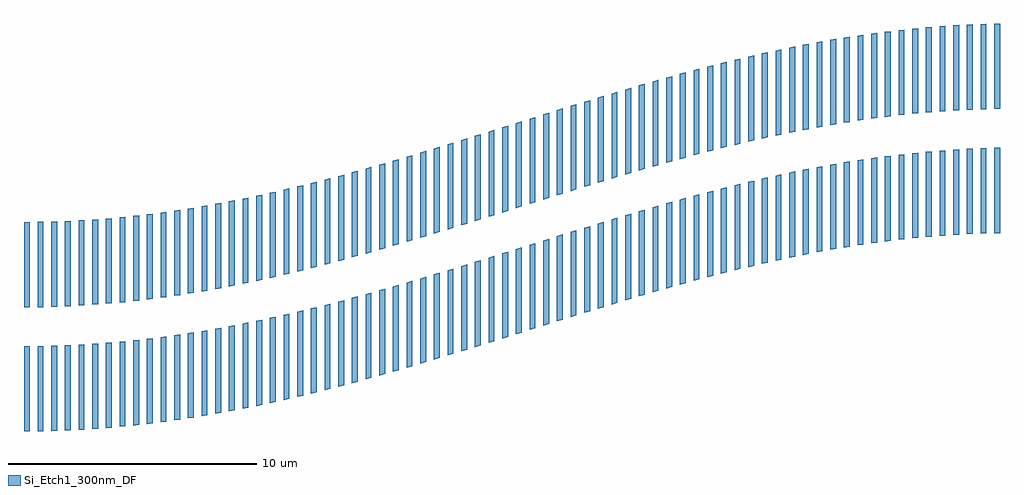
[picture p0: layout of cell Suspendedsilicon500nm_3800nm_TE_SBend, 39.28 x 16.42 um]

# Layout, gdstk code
import gdstk
lib = gdstk.Library(unit=1e-6, precision=1e-09)
def R(c, l, rs):  # rectangles x0, y0, x1, y1
    for r in rs: c.add(gdstk.rectangle(r[:2], r[2:], *l))
def P(c, l, *ps):  # polygons
    for p in ps: c.add(gdstk.Polygon(p, *l))
Si_Etch1_300nm_DF = (404, 0)

suspendedsilicon500nm_38 = lib.new_cell('Suspendedsilicon500nm_3800nm_TE_SBend')
R(suspendedsilicon500nm_38, Si_Etch1_300nm_DF, [(0,4.999,0.23,8.429)])
P(suspendedsilicon500nm_38, Si_Etch1_300nm_DF, [(22.55,4.77),(22.55,8.198),(22.78,8.268),(22.78,4.84)],
  [(0.55,5.003),(0.55,8.433),(0.78,8.436),(0.78,5.006)],
  [(23.1,4.939),(23.1,8.367),(23.33,8.436),(23.33,5.008)],
  [(1.1,5.015),(1.1,8.445),(1.33,8.452),(1.33,5.022)],
  [(1.65,5.034),(1.65,8.464),(1.88,8.474),(1.88,5.044)],
  [(2.2,5.061),(2.2,8.491),(2.43,8.504),(2.43,5.074)],
  [(2.75,5.096),(2.75,8.525),(2.98,8.542),(2.98,5.113)],
  [(3.3,5.138),(3.3,8.568),(3.53,8.587),(3.53,5.157)],
  [(23.65,5.106),(23.65,8.534),(23.88,8.604),(23.88,5.176)],
  [(3.85,5.187),(3.85,8.616),(4.08,8.639),(4.08,5.21)],
  [(4.4,5.244),(4.4,8.673),(4.63,8.699),(4.63,5.27)],
  [(4.95,5.308),(4.95,8.737),(5.18,8.765),(5.18,5.336)],
  [(24.2,5.272),(24.2,8.698),(24.43,8.766),(24.43,5.34)],
  [(5.5,5.378),(5.5,8.807),(5.73,8.839),(5.73,5.41)],
  [(6.05,5.455),(6.05,8.884),(6.28,8.919),(6.28,5.49)],
  [(24.75,5.434),(24.75,8.86),(24.98,8.929),(24.98,5.503)],
  [(6.6,5.54),(6.6,8.968),(6.83,9.005),(6.83,5.577)],
  [(25.3,5.596),(25.3,9.022),(25.53,9.088),(25.53,5.662)],
  [(7.15,5.631),(7.15,9.059),(7.38,9.098),(7.38,5.67)],
  [(7.7,5.728),(7.7,9.157),(7.93,9.199),(7.93,5.77)],
  [(25.85,5.751),(25.85,9.178),(26.08,9.243),(26.08,5.816)],
  [(8.25,5.83),(8.25,9.26),(8.48,9.306),(8.48,5.876)],
  [(26.4,5.906),(26.4,9.333),(26.63,9.398),(26.63,5.971)],
  [(8.8,5.94),(8.8,9.369),(9.03,9.415),(9.03,5.986)],
  [(9.35,6.055),(9.35,9.484),(9.58,9.534),(9.58,6.105)],
  [(26.95,6.058),(26.95,9.485),(27.18,9.545),(27.18,6.118)],
  [(9.9,6.175),(9.9,9.603),(10.13,9.656),(10.13,6.228)],
  [(27.5,6.203),(27.5,9.63),(27.73,9.69),(27.73,6.263)],
  [(10.45,6.302),(10.45,9.73),(10.68,9.783),(10.68,6.355)],
  [(28.05,6.346),(28.05,9.774),(28.28,9.833),(28.28,6.405)],
  [(11,6.433),(11,9.861),(11.23,9.917),(11.23,6.489)],
  [(28.6,6.483),(28.6,9.911),(28.83,9.967),(28.83,6.539)],
  [(11.55,6.568),(11.55,9.996),(11.78,10.053),(11.78,6.625)],
  [(29.15,6.616),(29.15,10.044),(29.38,10.1),(29.38,6.672)],
  [(12.1,6.708),(12.1,10.136),(12.33,10.196),(12.33,6.768)],
  [(29.7,6.748),(29.7,10.176),(29.93,10.227),(29.93,6.799)],
  [(12.65,6.852),(12.65,10.279),(12.88,10.341),(12.88,6.914)],
  [(30.25,6.867),(30.25,10.296),(30.48,10.346),(30.48,6.917)],
  [(30.8,6.986),(30.8,10.415),(31.03,10.464),(31.03,7.035)],
  [(13.2,7.002),(13.2,10.429),(13.43,10.492),(13.43,7.065)],
  [(31.35,7.101),(31.35,10.53),(31.58,10.573),(31.58,7.144)],
  [(13.75,7.154),(13.75,10.58),(13.98,10.645),(13.98,7.219)],
  [(31.9,7.204),(31.9,10.633),(32.13,10.675),(32.13,7.246)],
  [(32.45,7.306),(32.45,10.735),(32.68,10.777),(32.68,7.348)],
  [(14.3,7.31),(14.3,10.736),(14.53,10.802),(14.53,7.376)],
  [(33,7.403),(33,10.831),(33.23,10.866),(33.23,7.437)],
  [(33.55,7.486),(33.55,10.914),(33.78,10.949),(33.78,7.52)],
  [(14.85,7.467),(14.85,10.893),(15.08,10.961),(15.08,7.535)],
  [(34.1,7.569),(34.1,10.998),(34.33,11.033),(34.33,7.604)],
  [(34.65,7.645),(34.65,11.075),(34.88,11.101),(34.88,7.671)],
  [(15.4,7.63),(15.4,11.056),(15.63,11.124),(15.63,7.698)],
  [(35.2,7.709),(35.2,11.138),(35.43,11.164),(35.43,7.735)],
  [(35.75,7.772),(35.75,11.201),(35.98,11.227),(35.98,7.798)],
  [(36.3,7.828),(36.3,11.257),(36.53,11.274),(36.53,7.845)],
  [(15.95,7.792),(15.95,11.22),(16.18,11.289),(16.18,7.861)],
  [(36.85,7.869),(36.85,11.298),(37.08,11.315),(37.08,7.886)],
  [(37.4,7.91),(37.4,11.339),(37.63,11.356),(37.63,7.927)],
  [(37.95,7.944),(37.95,11.374),(38.18,11.382),(38.18,7.952)],
  [(38.5,7.962),(38.5,11.392),(38.73,11.4),(38.73,7.97)],
  [(39.05,7.98),(39.05,11.41),(39.28,11.417),(39.28,7.987)],
  [(16.5,7.959),(16.5,11.387),(16.73,11.456),(16.73,8.028)],
  [(17.05,8.126),(17.05,11.554),(17.28,11.625),(17.28,8.197)],
  [(19.8,8.983),(19.8,12.411),(20.03,12.483),(20.03,9.055)],
  [(20.35,9.156),(20.35,12.584),(20.58,12.656),(20.58,9.228)],
  [(20.9,9.329),(20.9,12.757),(21.13,12.828),(21.13,9.4)],
  [(21.45,9.5),(21.45,12.928),(21.68,12.999),(21.68,9.571)],
  [(22,9.671),(22,13.099),(22.23,13.17),(22.23,9.742)],
  [(22.55,9.84),(22.55,13.268),(22.78,13.337),(22.78,9.909)],
  [(23.1,10.007),(23.1,13.435),(23.33,13.505),(23.33,10.077)],
  [(23.65,10.174),(23.65,13.6),(23.88,13.668),(23.88,10.242)],
  [(24.2,10.336),(24.2,13.762),(24.43,13.83),(24.43,10.404)],
  [(24.75,10.498),(24.75,13.924),(24.98,13.991),(24.98,10.565)],
  [(25.3,10.655),(25.3,14.082),(25.53,14.147),(25.53,10.72)],
  [(25.85,10.81),(25.85,14.236),(26.08,14.301),(26.08,10.875)],
  [(26.4,10.964),(26.4,14.391),(26.63,14.451),(26.63,11.024)],
  [(26.95,11.109),(26.95,14.536),(27.18,14.596),(27.18,11.169)],
  [(27.5,11.253),(27.5,14.68),(27.73,14.74),(27.73,11.313)],
  [(28.05,11.393),(28.05,14.821),(28.28,14.877),(28.28,11.449)],
  [(28.6,11.526),(28.6,14.954),(28.83,15.01),(28.83,11.582)],
  [(29.15,11.658),(29.15,15.086),(29.38,15.142),(29.38,11.714)],
  [(29.7,11.783),(29.7,15.212),(29.93,15.262),(29.93,11.833)],
  [(30.25,11.902),(30.25,15.331),(30.48,15.38),(30.48,11.951)],
  [(30.8,12.02),(30.8,15.449),(31.03,15.496),(31.03,12.067)],
  [(31.35,12.127),(31.35,15.556),(31.58,15.599),(31.58,12.17)],
  [(31.9,12.229),(31.9,15.658),(32.13,15.701),(32.13,12.272)],
  [(32.45,12.33),(32.45,15.76),(32.68,15.8),(32.68,12.37)],
  [(33,12.42),(33,15.848),(33.23,15.883),(33.23,12.454)],
  [(33.55,12.503),(33.55,15.931),(33.78,15.966),(33.78,12.537)],
  [(34.1,12.586),(34.1,16.014),(34.33,16.046),(34.33,12.618)],
  [(34.65,12.655),(34.65,16.085),(34.88,16.111),(34.88,12.681)],
  [(35.2,12.718),(35.2,16.148),(35.43,16.174),(35.43,12.744)],
  [(35.75,12.781),(35.75,16.21),(35.98,16.236),(35.98,12.807)],
  [(36.3,12.831),(36.3,16.26),(36.53,16.278),(36.53,12.849)],
  [(36.85,12.872),(36.85,16.301),(37.08,16.319),(37.08,12.89)],
  [(37.4,12.914),(37.4,16.343),(37.63,16.36),(37.63,12.931)],
  [(37.95,12.945),(37.95,16.375),(38.18,16.382),(38.18,12.952)],
  [(38.5,12.962),(38.5,16.392),(38.73,16.4),(38.73,12.97)],
  [(39.05,12.98),(39.05,16.41),(39.28,16.418),(39.28,12.988)],
  [(17.6,8.296),(17.6,11.724),(17.83,11.795),(17.83,8.367)],
  [(18.15,8.467),(18.15,11.895),(18.38,11.966),(18.38,8.538)],
  [(18.7,8.638),(18.7,12.066),(18.93,12.138),(18.93,8.71)],
  [(19.25,8.811),(19.25,12.239),(19.48,12.311),(19.48,8.883)],
  [(17.05,3.058),(17.05,6.486),(17.28,6.556),(17.28,3.128)],
  [(17.6,3.226),(17.6,6.654),(17.83,6.725),(17.83,3.297)],
  [(18.15,3.396),(18.15,6.824),(18.38,6.895),(18.38,3.467)],
  [(18.7,3.567),(18.7,6.995),(18.93,7.067),(18.93,3.639)],
  [(19.25,3.739),(19.25,7.167),(19.48,7.239),(19.48,3.811)],
  [(0,0),(0,3.43),(0.23,3.431),(0.23,0.001)],
  [(0.55,0.004),(0.55,3.434),(0.78,3.438),(0.78,0.008)],
  [(1.1,0.016),(1.1,3.446),(1.33,3.453),(1.33,0.023)],
  [(1.65,0.035),(1.65,3.464),(1.88,3.474),(1.88,0.045)],
  [(2.2,0.061),(2.2,3.491),(2.43,3.504),(2.43,0.074)],
  [(2.75,0.095),(2.75,3.524),(2.98,3.54),(2.98,0.111)],
  [(3.3,0.135),(3.3,3.565),(3.53,3.583),(3.53,0.153)],
  [(3.85,0.183),(3.85,3.612),(4.08,3.633),(4.08,0.204)],
  [(4.4,0.237),(4.4,3.666),(4.63,3.692),(4.63,0.263)],
  [(4.95,0.299),(4.95,3.728),(5.18,3.756),(5.18,0.327)],
  [(5.5,0.366),(5.5,3.795),(5.73,3.827),(5.73,0.398)],
  [(6.05,0.443),(6.05,3.871),(6.28,3.904),(6.28,0.476)],
  [(6.6,0.524),(6.6,3.953),(6.83,3.988),(6.83,0.559)],
  [(7.15,0.612),(7.15,4.04),(7.38,4.079),(7.38,0.651)],
  [(7.7,0.704),(7.7,4.134),(7.93,4.176),(7.93,0.746)],
  [(8.25,0.804),(8.25,4.233),(8.48,4.276),(8.48,0.847)],
  [(8.8,0.91),(8.8,4.34),(9.03,4.386),(9.03,0.956)],
  [(9.35,1.021),(9.35,4.45),(9.58,4.5),(9.58,1.071)],
  [(9.9,1.14),(9.9,4.569),(10.13,4.618),(10.13,1.189)],
  [(10.45,1.262),(10.45,4.69),(10.68,4.744),(10.68,1.316)],
  [(11,1.389),(11,4.817),(11.23,4.873),(11.23,1.445)],
  [(11.55,1.523),(11.55,4.951),(11.78,5.007),(11.78,1.579)],
  [(12.1,1.659),(12.1,5.087),(12.33,5.146),(12.33,1.718)],
  [(12.65,1.802),(12.65,5.229),(12.88,5.289),(12.88,1.862)],
  [(13.2,1.946),(13.2,5.373),(13.43,5.436),(13.43,2.009)],
  [(13.75,2.097),(13.75,5.524),(13.98,5.587),(13.98,2.16)],
  [(14.3,2.25),(14.3,5.676),(14.53,5.741),(14.53,2.315)],
  [(14.85,2.407),(14.85,5.833),(15.08,5.899),(15.08,2.473)],
  [(15.4,2.565),(15.4,5.991),(15.63,6.06),(15.63,2.634)],
  [(15.95,2.728),(15.95,6.154),(16.18,6.223),(16.18,2.797)],
  [(16.5,2.891),(16.5,6.319),(16.73,6.388),(16.73,2.96)],
  [(21.45,4.429),(21.45,7.857),(21.68,7.928),(21.68,4.5)],
  [(22,4.6),(22,8.028),(22.23,8.099),(22.23,4.671)],
  [(19.8,3.911),(19.8,7.339),(20.03,7.411),(20.03,3.983)],
  [(20.35,4.084),(20.35,7.512),(20.58,7.584),(20.58,4.156)],
  [(20.9,4.257),(20.9,7.685),(21.13,7.757),(21.13,4.329)])

lib.write_gds('Suspendedsilicon500nm_3800nm_TE_SBend.gds')
